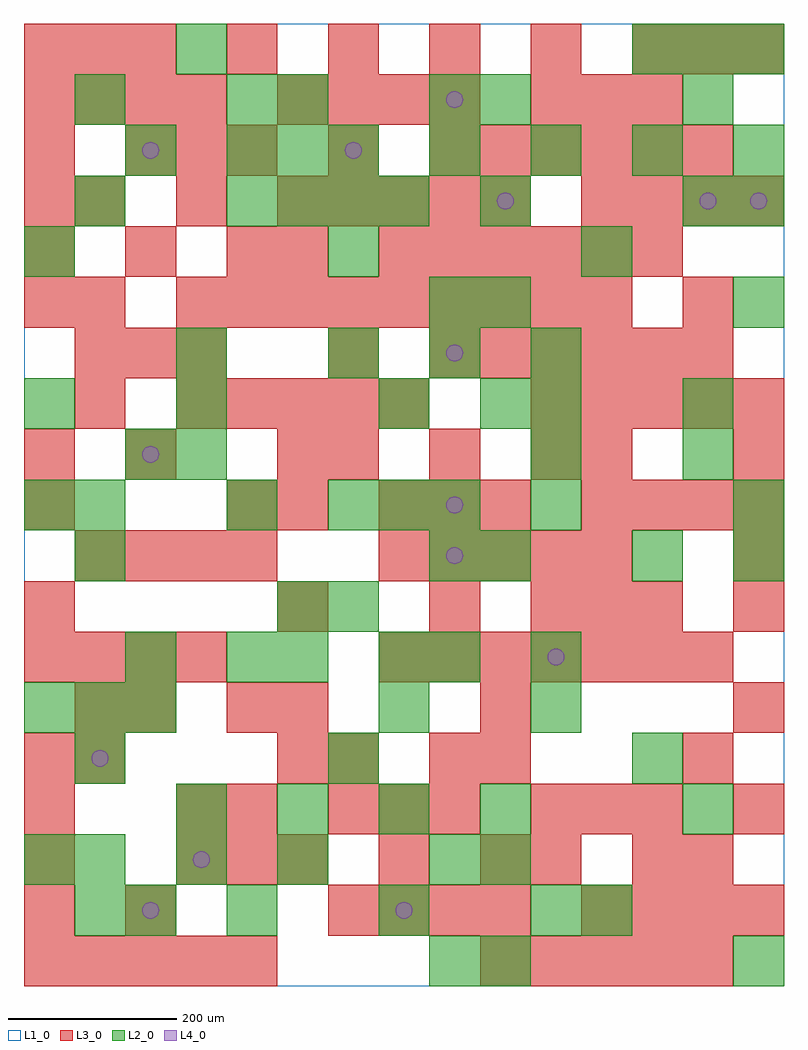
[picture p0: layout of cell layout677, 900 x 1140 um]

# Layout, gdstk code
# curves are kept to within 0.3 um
import gdstk
lib = gdstk.Library(unit=1e-6, precision=1e-09)
def R(c, l, rs):  # rectangles x0, y0, x1, y1
    for r in rs: c.add(gdstk.rectangle(r[:2], r[2:], *l))
def A(c, l, x, y, w, h, nx, ny, dx, dy):  # array of equal rectangles
    R(c, l, [(x+i*dx, y+j*dy, x+i*dx+w, y+j*dy+h) for i in range(nx) for j in range(ny)])
def P(c, l, *ps):  # polygons
    for p in ps: c.add(gdstk.Polygon(p, *l))
L1_0 = (1, 0)
L2_0 = (2, 0)
L3_0 = (3, 0)
L4_0 = (4, 0)

layout677 = lib.new_cell('layout677')
R(layout677, L1_0, [(0,0,900,1140)])
A(layout677, L2_0, 240, 60, 60, 60, 3, 1, 180, 0)
A(layout677, L2_0, 60, 120, 60, 60, 3, 1, 120, 0)
A(layout677, L2_0, 180, 180, 60, 60, 4, 1, 120, 0)
A(layout677, L2_0, 0, 300, 60, 60, 3, 1, 60, 0)
A(layout677, L2_0, 360, 540, 60, 60, 3, 1, 60, 0)
A(layout677, L2_0, 600, 540, 60, 60, 1, 3, 0, 60)
A(layout677, L2_0, 180, 600, 60, 60, 1, 3, 0, 60)
A(layout677, L2_0, 540, 660, 60, 60, 1, 4, 0, 120)
A(layout677, L2_0, 360, 720, 60, 60, 3, 1, 120, 0)
A(layout677, L2_0, 240, 900, 60, 60, 4, 1, 60, 0)
A(layout677, L2_0, 240, 960, 60, 60, 3, 1, 60, 0)
A(layout677, L2_0, 480, 960, 60, 60, 4, 1, 120, 0)
A(layout677, L2_0, 720, 1080, 60, 60, 3, 1, 60, 0)
R(layout677, L2_0, [(480,0,540,60), (540,0,600,60), (840,0,900,60), (60,60,120,120), (120,60,180,120), (660,60,720,120), (0,120,60,180), (480,120,540,180), (540,120,600,180), (780,180,840,240), (60,240,120,300), (360,240,420,300), (720,240,780,300), (420,300,480,360), (600,300,660,360), (120,360,180,420), (240,360,300,420), (300,360,360,420), (420,360,480,420), (480,360,540,420), (600,360,660,420), (300,420,360,480), (360,420,420,480), (60,480,120,540), (480,480,540,540), (540,480,600,540), (720,480,780,540), (840,480,900,540), (0,540,60,600), (60,540,120,600), (240,540,300,600), (840,540,900,600), (120,600,180,660), (780,600,840,660), (0,660,60,720), (420,660,480,720), (780,660,840,720), (480,780,540,840), (840,780,900,840), (0,840,60,900), (360,840,420,900), (660,840,720,900), (60,900,120,960), (780,900,840,960), (840,900,900,960), (120,960,180,1020), (60,1020,120,1080), (240,1020,300,1080), (300,1020,360,1080), (480,1020,540,1080), (780,1020,840,1080), (180,1080,240,1140)])
A(layout677, L3_0, 0, 0, 60, 60, 5, 1, 60, 0)
A(layout677, L3_0, 540, 0, 60, 60, 5, 1, 60, 0)
A(layout677, L3_0, 0, 60, 60, 60, 1, 4, 0, 60)
A(layout677, L3_0, 360, 60, 60, 60, 4, 2, 60, 840)
A(layout677, L3_0, 660, 60, 60, 60, 4, 2, 60, 480)
A(layout677, L3_0, 180, 120, 60, 60, 3, 1, 60, 0)
A(layout677, L3_0, 360, 180, 60, 60, 3, 1, 60, 0)
A(layout677, L3_0, 600, 180, 60, 60, 3, 2, 60, 240)
A(layout677, L3_0, 840, 180, 60, 60, 1, 3, 0, 120)
A(layout677, L3_0, 300, 300, 60, 60, 1, 3, 0, 120)
A(layout677, L3_0, 0, 360, 60, 60, 4, 2, 60, 660)
A(layout677, L3_0, 420, 360, 60, 60, 7, 1, 60, 0)
A(layout677, L3_0, 60, 480, 60, 60, 4, 1, 60, 0)
A(layout677, L3_0, 420, 480, 60, 60, 5, 1, 60, 0)
A(layout677, L3_0, 420, 540, 60, 60, 3, 1, 60, 0)
A(layout677, L3_0, 360, 600, 60, 60, 3, 1, 120, 0)
A(layout677, L3_0, 180, 660, 60, 60, 5, 1, 60, 0)
A(layout677, L3_0, 600, 660, 60, 60, 5, 1, 60, 0)
A(layout677, L3_0, 60, 720, 60, 60, 3, 1, 60, 0)
A(layout677, L3_0, 480, 720, 60, 60, 6, 2, 60, 240)
A(layout677, L3_0, 180, 780, 60, 60, 9, 1, 60, 0)
A(layout677, L3_0, 0, 840, 60, 60, 3, 1, 120, 0)
A(layout677, L3_0, 420, 840, 60, 60, 6, 1, 60, 0)
A(layout677, L3_0, 60, 900, 60, 60, 3, 1, 120, 0)
A(layout677, L3_0, 660, 900, 60, 60, 4, 1, 60, 0)
A(layout677, L3_0, 120, 960, 60, 60, 3, 1, 60, 0)
A(layout677, L3_0, 300, 1020, 60, 60, 4, 1, 60, 0)
A(layout677, L3_0, 600, 1020, 60, 60, 3, 1, 60, 0)
A(layout677, L3_0, 0, 1080, 60, 60, 3, 1, 60, 0)
A(layout677, L3_0, 240, 1080, 60, 60, 5, 1, 120, 0)
R(layout677, L3_0, [(120,60,180,120), (420,120,480,180), (540,120,600,180), (600,120,660,180), (720,120,780,180), (780,120,840,180), (180,180,240,240), (240,180,300,240), (60,240,120,300), (300,240,360,300), (360,240,420,300), (480,240,540,300), (540,240,600,300), (780,240,840,300), (60,300,120,360), (120,300,180,360), (240,300,300,360), (540,300,600,360), (0,420,60,480), (480,420,540,480), (840,480,900,540), (0,540,60,600), (240,540,300,600), (0,600,60,660), (120,600,180,660), (300,600,360,660), (660,600,720,660), (840,600,900,660), (60,660,120,720), (360,720,420,780), (0,780,60,840), (60,780,120,840), (780,780,840,840), (300,840,360,900), (0,900,60,960), (0,960,60,1020), (360,960,420,1020), (780,1080,840,1140), (840,1080,900,1140)])
P(layout677, L4_0, [(100,270),(99.239,273.827),(97.071,277.071),(93.827,279.239),(90,280),(86.173,279.239),(82.929,277.071),(80.761,273.827),(80,270),(80.761,266.173),(82.929,262.929),(86.173,260.761),(90,260),(93.827,260.761),(97.071,262.929),(99.239,266.173)],
  [(160,90),(159.239,93.827),(157.071,97.071),(153.827,99.239),(150,100),(146.173,99.239),(142.929,97.071),(140.761,93.827),(140,90),(140.761,86.173),(142.929,82.929),(146.173,80.761),(150,80),(153.827,80.761),(157.071,82.929),(159.239,86.173)],
  [(160,630),(159.239,633.827),(157.071,637.071),(153.827,639.239),(150,640),(146.173,639.239),(142.929,637.071),(140.761,633.827),(140,630),(140.761,626.173),(142.929,622.929),(146.173,620.761),(150,620),(153.827,620.761),(157.071,622.929),(159.239,626.173)],
  [(160,990),(159.239,993.827),(157.071,997.071),(153.827,999.239),(150,1000),(146.173,999.239),(142.929,997.071),(140.761,993.827),(140,990),(140.761,986.173),(142.929,982.929),(146.173,980.761),(150,980),(153.827,980.761),(157.071,982.929),(159.239,986.173)],
  [(220,150),(219.239,153.827),(217.071,157.071),(213.827,159.239),(210,160),(206.173,159.239),(202.929,157.071),(200.761,153.827),(200,150),(200.761,146.173),(202.929,142.929),(206.173,140.761),(210,140),(213.827,140.761),(217.071,142.929),(219.239,146.173)],
  [(400,990),(399.239,993.827),(397.071,997.071),(393.827,999.239),(390,1000),(386.173,999.239),(382.929,997.071),(380.761,993.827),(380,990),(380.761,986.173),(382.929,982.929),(386.173,980.761),(390,980),(393.827,980.761),(397.071,982.929),(399.239,986.173)],
  [(460,90),(459.239,93.827),(457.071,97.071),(453.827,99.239),(450,100),(446.173,99.239),(442.929,97.071),(440.761,93.827),(440,90),(440.761,86.173),(442.929,82.929),(446.173,80.761),(450,80),(453.827,80.761),(457.071,82.929),(459.239,86.173)],
  [(520,510),(519.239,513.827),(517.071,517.071),(513.827,519.239),(510,520),(506.173,519.239),(502.929,517.071),(500.761,513.827),(500,510),(500.761,506.173),(502.929,502.929),(506.173,500.761),(510,500),(513.827,500.761),(517.071,502.929),(519.239,506.173)],
  [(520,570),(519.239,573.827),(517.071,577.071),(513.827,579.239),(510,580),(506.173,579.239),(502.929,577.071),(500.761,573.827),(500,570),(500.761,566.173),(502.929,562.929),(506.173,560.761),(510,560),(513.827,560.761),(517.071,562.929),(519.239,566.173)],
  [(520,750),(519.239,753.827),(517.071,757.071),(513.827,759.239),(510,760),(506.173,759.239),(502.929,757.071),(500.761,753.827),(500,750),(500.761,746.173),(502.929,742.929),(506.173,740.761),(510,740),(513.827,740.761),(517.071,742.929),(519.239,746.173)],
  [(520,1050),(519.239,1053.827),(517.071,1057.071),(513.827,1059.239),(510,1060),(506.173,1059.239),(502.929,1057.071),(500.761,1053.827),(500,1050),(500.761,1046.173),(502.929,1042.929),(506.173,1040.761),(510,1040),(513.827,1040.761),(517.071,1042.929),(519.239,1046.173)],
  [(580,930),(579.239,933.827),(577.071,937.071),(573.827,939.239),(570,940),(566.173,939.239),(562.929,937.071),(560.761,933.827),(560,930),(560.761,926.173),(562.929,922.929),(566.173,920.761),(570,920),(573.827,920.761),(577.071,922.929),(579.239,926.173)],
  [(640,390),(639.239,393.827),(637.071,397.071),(633.827,399.239),(630,400),(626.173,399.239),(622.929,397.071),(620.761,393.827),(620,390),(620.761,386.173),(622.929,382.929),(626.173,380.761),(630,380),(633.827,380.761),(637.071,382.929),(639.239,386.173)],
  [(820,930),(819.239,933.827),(817.071,937.071),(813.827,939.239),(810,940),(806.173,939.239),(802.929,937.071),(800.761,933.827),(800,930),(800.761,926.173),(802.929,922.929),(806.173,920.761),(810,920),(813.827,920.761),(817.071,922.929),(819.239,926.173)],
  [(880,930),(879.239,933.827),(877.071,937.071),(873.827,939.239),(870,940),(866.173,939.239),(862.929,937.071),(860.761,933.827),(860,930),(860.761,926.173),(862.929,922.929),(866.173,920.761),(870,920),(873.827,920.761),(877.071,922.929),(879.239,926.173)])

lib.write_gds('layout677.gds')
